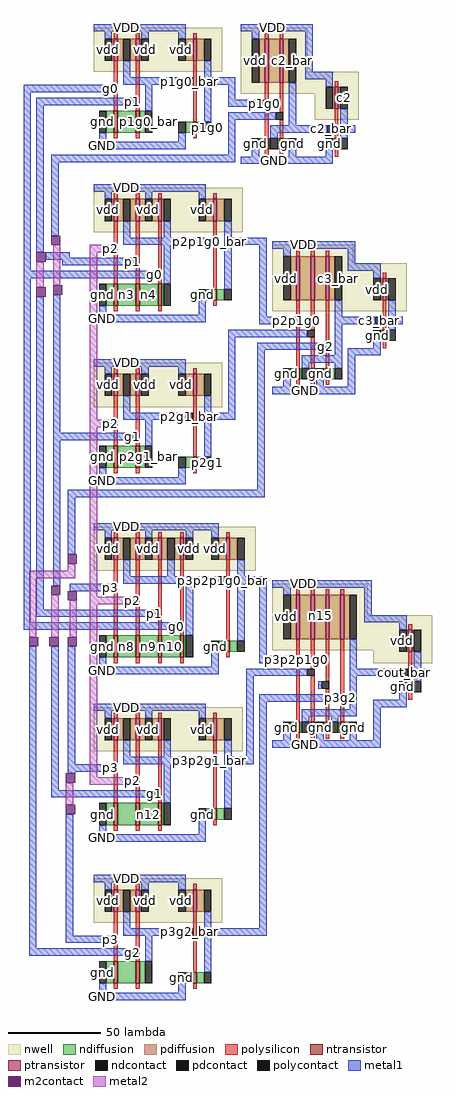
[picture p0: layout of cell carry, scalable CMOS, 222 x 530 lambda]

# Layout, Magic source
magic
tech scmos
<< nwell >>
rect 187 53 257 77
rect 267 53 303 77
rect 267 41 331 53
rect 307 27 331 41
rect 187 -34 268 -10
rect 284 -51 328 -41
rect 284 -77 357 -51
rect 187 -129 257 -105
rect 187 -218 275 -194
rect 284 -242 336 -225
rect 284 -261 371 -242
rect 339 -268 371 -261
rect 187 -316 268 -292
rect 187 -409 257 -385
<< ntransistor >>
rect 198 20 200 32
rect 210 20 212 32
rect 241 20 243 26
rect 280 11 282 17
rect 288 11 290 17
rect 318 11 320 17
rect 198 -74 200 -62
rect 210 -74 212 -62
rect 222 -74 224 -62
rect 252 -71 254 -65
rect 344 -93 346 -87
rect 297 -114 299 -108
rect 305 -114 307 -108
rect 313 -114 315 -108
rect 198 -162 200 -150
rect 210 -162 212 -150
rect 241 -162 243 -156
rect 198 -265 200 -253
rect 210 -265 212 -253
rect 222 -265 224 -253
rect 234 -265 236 -253
rect 259 -262 261 -256
rect 358 -284 360 -278
rect 297 -306 299 -300
rect 305 -306 307 -300
rect 313 -306 315 -300
rect 321 -306 323 -300
rect 198 -356 200 -344
rect 210 -356 212 -344
rect 222 -356 224 -344
rect 252 -353 254 -347
rect 198 -442 200 -430
rect 210 -442 212 -430
rect 241 -442 243 -436
<< ptransistor >>
rect 198 59 200 71
rect 210 59 212 71
rect 241 59 243 71
rect 280 47 282 71
rect 288 47 290 71
rect 318 33 320 45
rect 198 -28 200 -16
rect 210 -28 212 -16
rect 222 -28 224 -16
rect 252 -28 254 -16
rect 297 -71 299 -47
rect 305 -71 307 -47
rect 313 -71 315 -47
rect 344 -71 346 -59
rect 198 -123 200 -111
rect 210 -123 212 -111
rect 241 -123 243 -111
rect 198 -212 200 -200
rect 210 -212 212 -200
rect 222 -212 224 -200
rect 234 -212 236 -200
rect 259 -212 261 -200
rect 297 -255 299 -231
rect 305 -255 307 -231
rect 313 -255 315 -231
rect 321 -255 323 -231
rect 198 -310 200 -298
rect 210 -310 212 -298
rect 222 -310 224 -298
rect 252 -310 254 -298
rect 358 -262 360 -250
rect 198 -403 200 -391
rect 210 -403 212 -391
rect 241 -403 243 -391
<< ndiffusion >>
rect 194 20 198 32
rect 200 20 210 32
rect 212 20 215 32
rect 237 20 241 26
rect 243 20 247 26
rect 277 11 280 17
rect 282 11 283 17
rect 287 11 288 17
rect 290 11 293 17
rect 317 11 318 17
rect 320 11 321 17
rect 194 -74 198 -62
rect 200 -74 210 -62
rect 212 -74 222 -62
rect 224 -74 225 -62
rect 248 -71 252 -65
rect 254 -71 258 -65
rect 343 -93 344 -87
rect 346 -93 347 -87
rect 294 -114 297 -108
rect 299 -114 300 -108
rect 304 -114 305 -108
rect 307 -114 308 -108
rect 312 -114 313 -108
rect 315 -114 318 -108
rect 194 -162 198 -150
rect 200 -162 210 -150
rect 212 -162 215 -150
rect 237 -162 241 -156
rect 243 -162 247 -156
rect 194 -265 198 -253
rect 200 -265 210 -253
rect 212 -265 222 -253
rect 224 -265 234 -253
rect 236 -265 237 -253
rect 255 -262 259 -256
rect 261 -262 265 -256
rect 357 -284 358 -278
rect 360 -284 361 -278
rect 294 -306 297 -300
rect 299 -306 300 -300
rect 304 -306 305 -300
rect 307 -306 308 -300
rect 312 -306 313 -300
rect 315 -306 316 -300
rect 320 -306 321 -300
rect 323 -306 326 -300
rect 194 -356 198 -344
rect 200 -356 210 -344
rect 212 -356 222 -344
rect 224 -356 225 -344
rect 248 -353 252 -347
rect 254 -353 258 -347
rect 194 -442 198 -430
rect 200 -442 210 -430
rect 212 -442 215 -430
rect 237 -442 241 -436
rect 243 -442 247 -436
<< pdiffusion >>
rect 197 59 198 71
rect 200 59 203 71
rect 207 59 210 71
rect 212 59 213 71
rect 237 59 241 71
rect 243 59 247 71
rect 277 47 280 71
rect 282 47 288 71
rect 290 47 293 71
rect 317 33 318 45
rect 320 33 321 45
rect 197 -28 198 -16
rect 200 -28 203 -16
rect 207 -28 210 -16
rect 212 -28 215 -16
rect 219 -28 222 -16
rect 224 -28 225 -16
rect 248 -28 252 -16
rect 254 -28 258 -16
rect 294 -71 297 -47
rect 299 -71 305 -47
rect 307 -71 313 -47
rect 315 -71 318 -47
rect 343 -71 344 -59
rect 346 -71 347 -59
rect 197 -123 198 -111
rect 200 -123 203 -111
rect 207 -123 210 -111
rect 212 -123 213 -111
rect 237 -123 241 -111
rect 243 -123 247 -111
rect 197 -212 198 -200
rect 200 -212 203 -200
rect 207 -212 210 -200
rect 212 -212 215 -200
rect 219 -212 222 -200
rect 224 -212 227 -200
rect 231 -212 234 -200
rect 236 -212 237 -200
rect 255 -212 259 -200
rect 261 -212 265 -200
rect 294 -255 297 -231
rect 299 -255 305 -231
rect 307 -255 313 -231
rect 315 -255 321 -231
rect 323 -255 326 -231
rect 197 -310 198 -298
rect 200 -310 203 -298
rect 207 -310 210 -298
rect 212 -310 215 -298
rect 219 -310 222 -298
rect 224 -310 225 -298
rect 248 -310 252 -298
rect 254 -310 258 -298
rect 357 -262 358 -250
rect 360 -262 361 -250
rect 197 -403 198 -391
rect 200 -403 203 -391
rect 207 -403 210 -391
rect 212 -403 213 -391
rect 237 -403 241 -391
rect 243 -403 247 -391
<< ndcontact >>
rect 190 20 194 32
rect 215 20 219 32
rect 233 20 237 26
rect 247 20 251 26
rect 273 11 277 17
rect 283 11 287 17
rect 293 11 297 17
rect 313 11 317 17
rect 321 11 325 17
rect 190 -74 194 -62
rect 225 -74 229 -62
rect 244 -71 248 -65
rect 258 -71 262 -65
rect 339 -93 343 -87
rect 347 -93 351 -87
rect 290 -114 294 -108
rect 300 -114 304 -108
rect 308 -114 312 -108
rect 318 -114 322 -108
rect 190 -162 194 -150
rect 215 -162 219 -150
rect 233 -162 237 -156
rect 247 -162 251 -156
rect 190 -265 194 -253
rect 237 -265 241 -253
rect 251 -262 255 -256
rect 265 -262 269 -256
rect 353 -284 357 -278
rect 361 -284 365 -278
rect 290 -306 294 -300
rect 300 -306 304 -300
rect 308 -306 312 -300
rect 316 -306 320 -300
rect 326 -306 330 -300
rect 190 -356 194 -344
rect 225 -356 229 -344
rect 244 -353 248 -347
rect 258 -353 262 -347
rect 190 -442 194 -430
rect 215 -442 219 -430
rect 233 -442 237 -436
rect 247 -442 251 -436
<< pdcontact >>
rect 193 59 197 71
rect 203 59 207 71
rect 213 59 217 71
rect 233 59 237 71
rect 247 59 251 71
rect 273 47 277 71
rect 293 47 297 71
rect 313 33 317 45
rect 321 33 325 45
rect 193 -28 197 -16
rect 203 -28 207 -16
rect 215 -28 219 -16
rect 225 -28 229 -16
rect 244 -28 248 -16
rect 258 -28 262 -16
rect 290 -71 294 -47
rect 318 -71 322 -47
rect 339 -71 343 -59
rect 347 -71 351 -59
rect 193 -123 197 -111
rect 203 -123 207 -111
rect 213 -123 217 -111
rect 233 -123 237 -111
rect 247 -123 251 -111
rect 193 -212 197 -200
rect 203 -212 207 -200
rect 215 -212 219 -200
rect 227 -212 231 -200
rect 237 -212 241 -200
rect 251 -212 255 -200
rect 265 -212 269 -200
rect 290 -255 294 -231
rect 326 -255 330 -231
rect 193 -310 197 -298
rect 203 -310 207 -298
rect 215 -310 219 -298
rect 225 -310 229 -298
rect 244 -310 248 -298
rect 258 -310 262 -298
rect 353 -262 357 -250
rect 361 -262 365 -250
rect 193 -403 197 -391
rect 203 -403 207 -391
rect 213 -403 217 -391
rect 233 -403 237 -391
rect 247 -403 251 -391
<< polysilicon >>
rect 198 71 200 74
rect 210 71 212 74
rect 241 71 243 74
rect 280 71 282 74
rect 288 71 290 74
rect 198 32 200 59
rect 210 32 212 59
rect 241 26 243 59
rect 280 38 282 47
rect 198 17 200 20
rect 210 17 212 20
rect 241 17 243 20
rect 280 17 282 34
rect 288 31 290 47
rect 318 45 320 48
rect 288 17 290 27
rect 318 17 320 33
rect 280 8 282 11
rect 288 8 290 11
rect 318 7 320 11
rect 198 -16 200 -13
rect 210 -16 212 -13
rect 222 -16 224 -13
rect 252 -16 254 -13
rect 198 -62 200 -28
rect 210 -62 212 -28
rect 222 -62 224 -28
rect 252 -65 254 -28
rect 297 -47 299 -44
rect 305 -47 307 -44
rect 313 -47 315 -44
rect 344 -59 346 -56
rect 252 -74 254 -71
rect 198 -77 200 -74
rect 210 -77 212 -74
rect 222 -77 224 -74
rect 297 -80 299 -71
rect 297 -108 299 -84
rect 305 -87 307 -71
rect 305 -108 307 -91
rect 313 -94 315 -71
rect 344 -87 346 -71
rect 344 -97 346 -93
rect 313 -108 315 -98
rect 198 -111 200 -108
rect 210 -111 212 -108
rect 241 -111 243 -108
rect 297 -117 299 -114
rect 305 -117 307 -114
rect 313 -117 315 -114
rect 198 -150 200 -123
rect 210 -150 212 -123
rect 241 -156 243 -123
rect 198 -165 200 -162
rect 210 -165 212 -162
rect 241 -165 243 -162
rect 198 -200 200 -197
rect 210 -200 212 -197
rect 222 -200 224 -197
rect 234 -200 236 -197
rect 259 -200 261 -197
rect 198 -253 200 -212
rect 210 -253 212 -212
rect 222 -253 224 -212
rect 234 -253 236 -212
rect 259 -256 261 -212
rect 297 -231 299 -228
rect 305 -231 307 -228
rect 313 -231 315 -228
rect 321 -231 323 -228
rect 358 -250 360 -247
rect 259 -265 261 -262
rect 297 -264 299 -255
rect 198 -268 200 -265
rect 210 -268 212 -265
rect 222 -268 224 -265
rect 234 -268 236 -265
rect 198 -298 200 -295
rect 210 -298 212 -295
rect 222 -298 224 -295
rect 252 -298 254 -295
rect 297 -300 299 -268
rect 305 -271 307 -255
rect 305 -300 307 -275
rect 313 -278 315 -255
rect 313 -300 315 -282
rect 321 -285 323 -255
rect 358 -278 360 -262
rect 358 -288 360 -284
rect 321 -300 323 -289
rect 297 -309 299 -306
rect 305 -309 307 -306
rect 313 -309 315 -306
rect 321 -309 323 -306
rect 198 -344 200 -310
rect 210 -344 212 -310
rect 222 -344 224 -310
rect 252 -347 254 -310
rect 252 -356 254 -353
rect 198 -359 200 -356
rect 210 -359 212 -356
rect 222 -359 224 -356
rect 198 -391 200 -388
rect 210 -391 212 -388
rect 241 -391 243 -388
rect 198 -430 200 -403
rect 210 -430 212 -403
rect 241 -436 243 -403
rect 198 -445 200 -442
rect 210 -445 212 -442
rect 241 -445 243 -442
<< polycontact >>
rect 194 42 198 46
rect 206 35 210 39
rect 237 46 241 50
rect 278 34 282 38
rect 286 27 290 31
rect 314 20 318 24
rect 194 -45 198 -41
rect 206 -52 210 -48
rect 218 -59 222 -55
rect 248 -41 252 -37
rect 295 -84 299 -80
rect 303 -91 307 -87
rect 340 -84 344 -80
rect 311 -98 315 -94
rect 194 -140 198 -136
rect 206 -147 210 -143
rect 237 -136 241 -132
rect 194 -229 198 -225
rect 206 -236 210 -232
rect 218 -243 222 -239
rect 230 -250 234 -246
rect 255 -225 259 -221
rect 295 -268 299 -264
rect 303 -275 307 -271
rect 311 -282 315 -278
rect 354 -275 358 -271
rect 319 -289 323 -285
rect 194 -327 198 -323
rect 206 -334 210 -330
rect 218 -341 222 -337
rect 248 -323 252 -319
rect 194 -420 198 -416
rect 206 -427 210 -423
rect 237 -416 241 -412
<< metal1 >>
rect 187 75 237 79
rect 267 75 306 79
rect 193 71 197 75
rect 213 71 217 75
rect 233 71 237 75
rect 273 71 277 75
rect 203 50 207 59
rect 247 50 251 59
rect 203 46 237 50
rect 247 46 264 50
rect 302 53 306 75
rect 302 49 317 53
rect 149 42 194 46
rect 149 -55 153 42
rect 156 35 206 39
rect 156 -45 160 35
rect 215 32 219 46
rect 247 26 251 46
rect 260 38 264 46
rect 260 34 278 38
rect 260 27 286 31
rect 190 15 194 20
rect 233 15 237 20
rect 187 11 237 15
rect 260 8 264 27
rect 293 24 297 47
rect 313 45 317 49
rect 321 24 325 33
rect 283 20 314 24
rect 321 20 329 24
rect 283 17 287 20
rect 321 17 325 20
rect 164 4 264 8
rect 273 7 277 11
rect 293 7 297 11
rect 313 7 317 11
rect 164 -36 168 4
rect 267 3 317 7
rect 187 -12 248 -8
rect 193 -16 197 -12
rect 215 -16 219 -12
rect 244 -16 248 -12
rect 203 -37 207 -28
rect 225 -37 229 -28
rect 258 -37 262 -28
rect 203 -41 248 -37
rect 258 -41 281 -37
rect 161 -48 174 -45
rect 161 -49 206 -48
rect 170 -52 206 -49
rect 149 -59 218 -55
rect 149 -246 153 -59
rect 225 -62 229 -41
rect 156 -239 160 -69
rect 165 -143 169 -68
rect 258 -65 262 -41
rect 190 -79 194 -74
rect 244 -79 248 -71
rect 187 -83 248 -79
rect 277 -80 281 -41
rect 284 -43 329 -39
rect 290 -47 294 -43
rect 325 -51 329 -43
rect 325 -55 343 -51
rect 339 -59 343 -55
rect 318 -80 322 -71
rect 347 -80 351 -71
rect 277 -84 295 -80
rect 318 -84 340 -80
rect 347 -84 355 -80
rect 260 -91 303 -87
rect 187 -107 237 -103
rect 193 -111 197 -107
rect 213 -111 217 -107
rect 233 -111 237 -107
rect 203 -132 207 -123
rect 247 -132 251 -123
rect 260 -132 264 -91
rect 203 -136 237 -132
rect 247 -136 264 -132
rect 276 -98 311 -94
rect 165 -147 206 -143
rect 165 -226 169 -147
rect 215 -150 219 -136
rect 247 -156 251 -136
rect 190 -167 194 -162
rect 233 -167 237 -162
rect 187 -171 237 -167
rect 276 -174 280 -98
rect 318 -101 322 -84
rect 347 -87 351 -84
rect 339 -97 343 -93
rect 300 -105 322 -101
rect 300 -108 304 -105
rect 318 -108 322 -105
rect 325 -101 343 -97
rect 290 -118 294 -114
rect 308 -118 312 -114
rect 325 -118 329 -101
rect 284 -122 329 -118
rect 173 -178 280 -174
rect 173 -209 177 -178
rect 187 -196 255 -192
rect 193 -200 197 -196
rect 215 -200 219 -196
rect 237 -200 241 -196
rect 251 -200 255 -196
rect 203 -221 207 -212
rect 227 -221 231 -212
rect 265 -221 269 -212
rect 203 -225 255 -221
rect 265 -225 281 -221
rect 174 -229 194 -225
rect 156 -243 218 -239
rect 149 -250 230 -246
rect 237 -253 241 -225
rect 152 -423 156 -259
rect 164 -337 168 -259
rect 173 -323 177 -259
rect 265 -256 269 -225
rect 190 -270 194 -265
rect 251 -270 255 -262
rect 277 -264 281 -225
rect 284 -227 338 -223
rect 290 -231 294 -227
rect 334 -242 338 -227
rect 334 -246 357 -242
rect 277 -268 295 -264
rect 187 -274 255 -270
rect 326 -271 330 -255
rect 353 -250 357 -246
rect 361 -271 365 -262
rect 270 -275 303 -271
rect 326 -275 354 -271
rect 361 -275 369 -271
rect 187 -294 248 -290
rect 193 -298 197 -294
rect 215 -298 219 -294
rect 244 -298 248 -294
rect 203 -319 207 -310
rect 225 -319 229 -310
rect 258 -319 262 -310
rect 270 -319 274 -275
rect 309 -282 311 -278
rect 203 -323 248 -319
rect 258 -323 274 -319
rect 277 -289 319 -285
rect 173 -327 194 -323
rect 173 -328 177 -327
rect 164 -341 218 -337
rect 225 -344 229 -323
rect 172 -416 176 -350
rect 258 -347 262 -323
rect 190 -361 194 -356
rect 244 -361 248 -353
rect 187 -365 248 -361
rect 187 -387 237 -383
rect 193 -391 197 -387
rect 213 -391 217 -387
rect 233 -391 237 -387
rect 203 -412 207 -403
rect 247 -412 251 -403
rect 277 -412 281 -289
rect 326 -293 330 -275
rect 361 -278 365 -275
rect 353 -288 357 -284
rect 300 -297 330 -293
rect 339 -292 357 -288
rect 300 -300 304 -297
rect 316 -300 320 -297
rect 290 -310 294 -306
rect 308 -310 312 -306
rect 326 -310 330 -306
rect 339 -310 343 -292
rect 284 -314 343 -310
rect 203 -416 237 -412
rect 247 -416 281 -412
rect 172 -420 194 -416
rect 152 -427 206 -423
rect 215 -430 219 -416
rect 247 -436 251 -416
rect 190 -447 194 -442
rect 233 -447 237 -442
rect 187 -451 237 -447
<< m2contact >>
rect 164 -41 169 -36
rect 156 -50 161 -45
rect 156 -69 161 -64
rect 165 -68 170 -63
rect 173 -214 178 -209
rect 164 -231 169 -226
rect 173 -234 178 -229
rect 152 -259 157 -254
rect 163 -259 168 -254
rect 173 -259 178 -254
rect 172 -333 177 -328
rect 172 -350 177 -345
<< metal2 >>
rect 156 -64 160 -50
rect 165 -63 169 -41
rect 185 -45 194 -41
rect 185 -136 189 -45
rect 185 -140 194 -136
rect 173 -218 177 -214
rect 152 -222 177 -218
rect 152 -254 156 -222
rect 164 -254 168 -231
rect 174 -254 178 -234
rect 185 -232 189 -140
rect 185 -236 206 -232
rect 185 -330 189 -236
rect 172 -345 176 -333
rect 185 -334 206 -330
<< labels >>
rlabel metal1 301 -225 301 -225 5 VDD
rlabel pdcontact 292 -243 292 -243 1 vdd
rlabel metal1 302 -312 302 -312 1 GND
rlabel ndcontact 310 -303 310 -303 1 gnd
rlabel ndcontact 292 -303 292 -303 1 gnd
rlabel ndcontact 328 -303 328 -303 1 gnd
rlabel ndcontact 355 -281 355 -281 1 gnd
rlabel pdcontact 355 -256 355 -256 1 vdd
rlabel metal1 205 -292 205 -292 5 VDD
rlabel metal1 192 -363 192 -363 2 GND
rlabel ndcontact 192 -350 192 -350 3 gnd
rlabel ndcontact 246 -350 246 -350 1 gnd
rlabel pdcontact 246 -304 246 -304 1 vdd
rlabel pdcontact 217 -304 217 -304 1 vdd
rlabel pdcontact 195 -304 195 -304 1 vdd
rlabel metal1 205 77 205 77 5 VDD
rlabel metal1 192 13 192 13 2 GND
rlabel metal1 285 5 285 5 1 GND
rlabel metal1 284 77 284 77 5 VDD
rlabel metal1 205 -10 205 -10 5 VDD
rlabel metal1 192 -81 192 -81 2 GND
rlabel ndcontact 192 -68 192 -68 3 gnd
rlabel ndcontact 246 -68 246 -68 1 gnd
rlabel pdcontact 246 -22 246 -22 1 vdd
rlabel pdcontact 217 -22 217 -22 1 vdd
rlabel pdcontact 195 -22 195 -22 1 vdd
rlabel metal1 205 -105 205 -105 5 VDD
rlabel metal1 192 -169 192 -169 2 GND
rlabel metal1 301 -41 301 -41 5 VDD
rlabel metal1 302 -120 302 -120 1 GND
rlabel ndcontact 341 -90 341 -90 1 gnd
rlabel pdcontact 341 -65 341 -65 1 vdd
rlabel ndcontact 310 -111 310 -111 1 gnd
rlabel ndcontact 292 -111 292 -111 1 gnd
rlabel pdcontact 292 -59 292 -59 1 vdd
rlabel metal1 205 -194 205 -194 5 VDD
rlabel pdcontact 217 -206 217 -206 1 vdd
rlabel pdcontact 195 -206 195 -206 1 vdd
rlabel ndcontact 192 -259 192 -259 3 gnd
rlabel metal1 192 -272 192 -272 2 GND
rlabel pdcontact 253 -206 253 -206 1 vdd
rlabel ndcontact 253 -259 253 -259 1 gnd
rlabel pdcontact 239 -206 239 -206 1 vdd
rlabel metal1 205 -385 205 -385 5 VDD
rlabel metal1 192 -449 192 -449 2 GND
rlabel polycontact 196 44 196 44 1 g0
rlabel polycontact 239 48 239 48 1 p1g0_bar
rlabel polycontact 280 36 280 36 1 p1g0
rlabel polycontact 288 29 288 29 1 g1
rlabel polycontact 316 22 316 22 1 c2_bar
rlabel metal1 327 22 327 22 1 c2
rlabel pdcontact 195 65 195 65 1 vdd
rlabel pdcontact 215 65 215 65 1 vdd
rlabel pdcontact 205 65 205 65 1 p1g0_bar
rlabel ndcontact 217 26 217 26 1 p1g0_bar
rlabel ndcontact 192 26 192 26 3 gnd
rlabel pdcontact 235 65 235 65 1 vdd
rlabel pdcontact 249 65 249 65 1 p1g0
rlabel ndcontact 235 23 235 23 1 gnd
rlabel ndcontact 249 23 249 23 1 p1g0
rlabel pdcontact 275 59 275 59 1 vdd
rlabel ndcontact 275 14 275 14 1 gnd
rlabel ndcontact 295 14 295 14 1 gnd
rlabel ndcontact 285 14 285 14 1 c2_bar
rlabel pdcontact 295 59 295 59 1 c2_bar
rlabel ndcontact 315 14 315 14 1 gnd
rlabel ndcontact 323 14 323 14 1 c2
rlabel pdcontact 323 39 323 39 1 c2
rlabel pdcontact 315 39 315 39 1 vdd
rlabel ndiffusion 205 26 205 26 1 n1
rlabel pdiffusion 285 60 285 60 1 n2
rlabel polycontact 220 -57 220 -57 1 g0
rlabel ndiffusion 205 -68 205 -68 1 n3
rlabel ndiffusion 217 -68 217 -68 1 n4
rlabel polycontact 250 -39 250 -39 1 p2p1g0_bar
rlabel pdcontact 227 -22 227 -22 1 p2p1g0_bar
rlabel pdcontact 205 -22 205 -22 1 p2p1g0_bar
rlabel pdcontact 260 -22 260 -22 1 p2p1g0
rlabel ndcontact 260 -68 260 -68 1 p2p1g0
rlabel ndcontact 227 -68 227 -68 1 p2p1g0_bar
rlabel polycontact 297 -82 297 -82 1 p2p1g0
rlabel pdcontact 215 -117 215 -117 1 vdd
rlabel pdcontact 235 -117 235 -117 1 vdd
rlabel pdcontact 195 -117 195 -117 1 vdd
rlabel polycontact 208 -145 208 -145 1 g1
rlabel polycontact 239 -134 239 -134 1 p2g1_bar
rlabel pdcontact 205 -117 205 -117 1 p2g1_bar
rlabel ndcontact 217 -156 217 -156 1 p2g1_bar
rlabel ndcontact 192 -156 192 -156 3 gnd
rlabel ndcontact 235 -159 235 -159 1 gnd
rlabel pdcontact 249 -117 249 -117 1 p2g1
rlabel ndcontact 249 -159 249 -159 1 p2g1
rlabel polycontact 305 -89 305 -89 1 p2g1
rlabel polycontact 313 -96 313 -96 1 g2
rlabel ndcontact 302 -111 302 -111 1 c3_bar
rlabel ndcontact 320 -111 320 -111 1 c3_bar
rlabel pdcontact 320 -59 320 -59 1 c3_bar
rlabel polycontact 342 -82 342 -82 1 c3_bar
rlabel metal1 353 -82 353 -82 1 c3
rlabel ndcontact 349 -90 349 -90 1 c3
rlabel pdcontact 349 -65 349 -65 1 c3
rlabel polycontact 232 -248 232 -248 1 g0
rlabel ndiffusion 205 -156 205 -156 1 n5
rlabel pdiffusion 302 -59 302 -59 1 n6
rlabel pdiffusion 310 -59 310 -59 1 n7
rlabel ndiffusion 205 -259 205 -259 1 n8
rlabel ndiffusion 217 -259 217 -259 1 n9
rlabel ndiffusion 229 -259 229 -259 1 n10
rlabel ndcontact 239 -259 239 -259 1 p3p2p1g0_bar
rlabel pdcontact 229 -206 229 -206 1 p3p2p1g0_bar
rlabel pdcontact 205 -206 205 -206 1 p3p2p1g0_bar
rlabel polycontact 257 -223 257 -223 1 p3p2p1g0_bar
rlabel ndcontact 267 -259 267 -259 1 p3p2p1g0
rlabel pdcontact 267 -206 267 -206 1 p3p2p1g0
rlabel polycontact 297 -266 297 -266 1 p3p2p1g0
rlabel polycontact 220 -339 220 -339 1 g1
rlabel ndiffusion 205 -350 205 -350 1 n11
rlabel ndiffusion 217 -350 217 -350 1 n12
rlabel ndcontact 227 -350 227 -350 1 p3p2g1_bar
rlabel pdcontact 205 -304 205 -304 1 p3p2g1_bar
rlabel pdcontact 227 -304 227 -304 1 p3p2g1_bar
rlabel polycontact 250 -321 250 -321 1 p3p2g1_bar
rlabel ndcontact 260 -350 260 -350 1 p3p2g1
rlabel pdcontact 260 -304 260 -304 1 p3p2g1
rlabel polycontact 305 -273 305 -273 1 p3p2g1
rlabel polycontact 208 -425 208 -425 1 g2
rlabel ndcontact 192 -436 192 -436 3 gnd
rlabel ndcontact 235 -439 235 -439 1 gnd
rlabel ndcontact 217 -436 217 -436 1 p3g2_bar
rlabel pdcontact 195 -397 195 -397 1 vdd
rlabel pdcontact 205 -397 205 -397 1 p3g2_bar
rlabel pdcontact 215 -397 215 -397 1 vdd
rlabel polycontact 239 -414 239 -414 1 p3g2_bar
rlabel pdcontact 235 -397 235 -397 1 vdd
rlabel pdcontact 249 -397 249 -397 1 p3g2
rlabel ndcontact 249 -439 249 -439 1 p3g2
rlabel ndiffusion 205 -436 205 -436 1 n13
rlabel polycontact 321 -287 321 -287 1 p3g2
rlabel pdiffusion 302 -242 302 -242 1 n14
rlabel pdiffusion 310 -242 310 -242 1 n15
rlabel pdiffusion 318 -242 318 -242 1 n16
rlabel polycontact 313 -280 313 -280 1 g3
rlabel ndcontact 302 -303 302 -303 1 cout_bar
rlabel ndcontact 318 -303 318 -303 1 cout_bar
rlabel pdcontact 328 -243 328 -243 1 cout_bar
rlabel polycontact 356 -273 356 -273 1 cout_bar
rlabel metal1 367 -273 367 -273 7 cout
rlabel ndcontact 363 -281 363 -281 1 cout
rlabel pdcontact 363 -256 363 -256 1 cout
rlabel polycontact 208 37 208 37 1 p1
rlabel polycontact 208 -50 208 -50 1 p1
rlabel polycontact 220 -241 220 -241 1 p1
rlabel polycontact 196 -43 196 -43 1 p2
rlabel polycontact 196 -138 196 -138 1 p2
rlabel polycontact 208 -234 208 -234 1 p2
rlabel polycontact 208 -332 208 -332 1 p2
rlabel polycontact 196 -227 196 -227 1 p3
rlabel polycontact 196 -325 196 -325 1 p3
rlabel polycontact 196 -418 196 -418 1 p3
<< end >>
